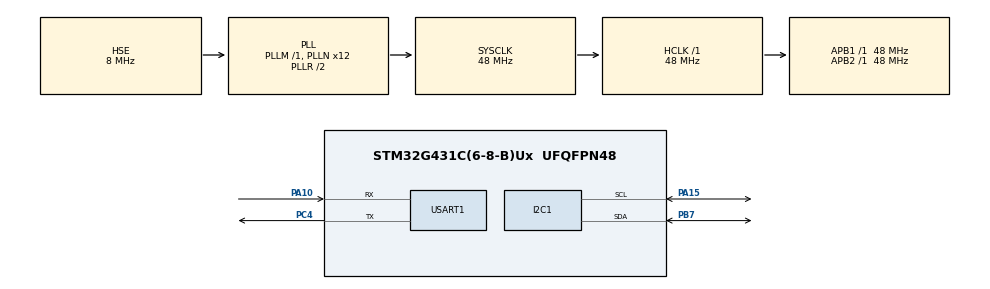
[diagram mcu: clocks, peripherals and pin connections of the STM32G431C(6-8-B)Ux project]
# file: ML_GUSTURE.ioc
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EdgeImpulse.Motion_Classification_-_Continuo.1.0.161.MachineLearningCcMotionIiClassificationIiAaIiContinuoJjCore=true
I2C1.Timing=0x10805D88
Mcu.Family=STM32G4
Mcu.Name=STM32G431C(6-8-B)Ux
Mcu.Package=UFQFPN48
NVIC.PriorityGroup=NVIC_PRIORITYGROUP_4
PA10.Mode=Asynchronous
PA10.Signal=USART1_RX
PA13.Mode=Serial_Wire
PA13.Signal=SYS_JTMS-SWDIO
PA14.Mode=Serial_Wire
PA14.Signal=SYS_JTCK-SWCLK
PA15.Mode=I2C
PA15.Signal=I2C1_SCL
PB7.Mode=I2C
PB7.Signal=I2C1_SDA
PC4.Mode=Asynchronous
PC4.Signal=USART1_TX
PF0-OSC_IN.Mode=HSE-External-Oscillator
PF0-OSC_IN.Signal=RCC_OSC_IN
PF1-OSC_OUT.Mode=HSE-External-Oscillator
PF1-OSC_OUT.Signal=RCC_OSC_OUT
ProjectManager.HeapSize=0x200
ProjectManager.StackSize=0x400
ProjectManager.TargetToolchain=STM32CubeIDE
RCC.ADC12Freq_Value=48000000
RCC.AHBFreq_Value=48000000
RCC.APB1Freq_Value=48000000
RCC.APB1TimFreq_Value=48000000
RCC.APB2Freq_Value=48000000
RCC.APB2TimFreq_Value=48000000
RCC.CortexFreq_Value=48000000
RCC.EXTERNAL_CLOCK_VALUE=12288000
RCC.HCLKFreq_Value=48000000
RCC.HSE_VALUE=8000000
RCC.HSI48_VALUE=48000000
RCC.HSI_VALUE=16000000
RCC.LSE_VALUE=32768
RCC.PLLN=12
RCC.PLLSourceVirtual=RCC_PLLSOURCE_HSE
RCC.SYSCLKFreq_VALUE=48000000
RCC.SYSCLKSource=RCC_SYSCLKSOURCE_PLLCLK
RCC.USBFreq_Value=48000000
RCC.VCOOutputFreq_Value=96000000
USART1.VirtualMode-Asynchronous=VM_ASYNC
VP_CRC_VS_CRC.Mode=CRC_Activate
VP_EdgeImpulse.Motion_Classification_-_Continuo_VS_MotionIiClassificationIiAaIiContinuoJjMachineLearning_1.0.161_1.0.161.Mode=MotionIiClassificationIiAaIiContinuoJjMachineLearning
VP_SYS_VS_DBSignals.Mode=DisableDeadBatterySignals
board=custom

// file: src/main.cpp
/* USER CODE BEGIN Header */
/**
  ******************************************************************************
  * @file           : main.c
  * @brief          : Main program body
  ******************************************************************************
  * @attention
  *
  * Copyright (c) 2025 STMicroelectronics.
  * All rights reserved.
  *
  * This software is licensed under terms that can be found in the LICENSE file
  * in the root directory of this software component.
  * If no LICENSE file comes with this software, it is provided AS-IS.
  *
  ******************************************************************************
  */
/* USER CODE END Header */
#include "main.h"

/* USER CODE BEGIN Includes */
#include "edge-impulse-sdk/classifier/ei_run_classifier.h"
#include "edge-impulse-sdk/dsp/numpy_types.h"

/* USER CODE END Includes */

/* USER CODE BEGIN PD */
#define MPU6050_ADDR (0x68 << 1)
#define ACCEL_START_REG 0x3B
#define CONVERT_G_TO_MS2 9.80665f
#define MAX_ACCEPTED_RANGE 2.0f

static bool debug_nn = false;
float input_buffer[EI_CLASSIFIER_DSP_INPUT_FRAME_SIZE];

/* USER CODE END PD */

CRC_HandleTypeDef hcrc;

I2C_HandleTypeDef hi2c1;

UART_HandleTypeDef huart1;

void SystemClock_Config(void);
static void MX_GPIO_Init(void);
static void MX_CRC_Init(void);
static void MX_I2C1_Init(void);
static void MX_USART1_UART_Init(void);

/* USER CODE BEGIN PFP */
void UART_Printf(const char *msg);/* USER CODE END PFP */
void init_mpu6050(); //Initialization
void read_mpu6050_accel(float *x, float *y, float *z);//Data read
void sample_edge_impulse_window();
void run_edge_impulse_classifier();

int main(void)
{

  /* MCU Configuration--------------------------------------------------------*/

  /* Reset of all peripherals, Initializes the Flash interface and the Systick. */
  HAL_Init();

  /* Configure the system clock */
  SystemClock_Config();

  /* Initialize all configured peripherals */
  MX_GPIO_Init();
  MX_CRC_Init();
  MX_I2C1_Init();
  MX_USART1_UART_Init();

  /* USER CODE BEGIN 2 */

 UART_Printf("Starting Edge Impulse Motion Classifier\r\n");
 init_mpu6050();

  /* USER CODE END 2 */

  /* Infinite loop */
  while (1)
  {

    /* USER CODE BEGIN 3 */
	  sample_edge_impulse_window();
	  run_edge_impulse_classifier();
	  HAL_Delay(500);
}
  /* USER CODE END 3 */
}

void SystemClock_Config(void)
{
  RCC_OscInitTypeDef RCC_OscInitStruct = {0};
  RCC_ClkInitTypeDef RCC_ClkInitStruct = {0};

  /** Configure the main internal regulator output voltage
  */
  HAL_PWREx_ControlVoltageScaling(PWR_REGULATOR_VOLTAGE_SCALE1);

  /** Initializes the RCC Oscillators according to the specified parameters
  * in the RCC_OscInitTypeDef structure.
  */
  RCC_OscInitStruct.OscillatorType = RCC_OSCILLATORTYPE_HSE;
  RCC_OscInitStruct.HSEState = RCC_HSE_ON;
  RCC_OscInitStruct.PLL.PLLState = RCC_PLL_ON;
  RCC_OscInitStruct.PLL.PLLSource = RCC_PLLSOURCE_HSE;
  RCC_OscInitStruct.PLL.PLLM = RCC_PLLM_DIV1;
  RCC_OscInitStruct.PLL.PLLN = 12;
  RCC_OscInitStruct.PLL.PLLP = RCC_PLLP_DIV2;
  RCC_OscInitStruct.PLL.PLLQ = RCC_PLLQ_DIV2;
  RCC_OscInitStruct.PLL.PLLR = RCC_PLLR_DIV2;
  if (HAL_RCC_OscConfig(&RCC_OscInitStruct) != HAL_OK)
  {
    Error_Handler();
  }

  /** Initializes the CPU, AHB and APB buses clocks
  */
  RCC_ClkInitStruct.ClockType = RCC_CLOCKTYPE_HCLK|RCC_CLOCKTYPE_SYSCLK
                              |RCC_CLOCKTYPE_PCLK1|RCC_CLOCKTYPE_PCLK2;
  RCC_ClkInitStruct.SYSCLKSource = RCC_SYSCLKSOURCE_PLLCLK;
  RCC_ClkInitStruct.AHBCLKDivider = RCC_SYSCLK_DIV1;
  RCC_ClkInitStruct.APB1CLKDivider = RCC_HCLK_DIV1;
  RCC_ClkInitStruct.APB2CLKDivider = RCC_HCLK_DIV1;

  if (HAL_RCC_ClockConfig(&RCC_ClkInitStruct, FLASH_LATENCY_1) != HAL_OK)
  {
    Error_Handler();
  }
}

static void MX_CRC_Init(void)
{

  hcrc.Instance = CRC;
  hcrc.Init.DefaultPolynomialUse = DEFAULT_POLYNOMIAL_ENABLE;
  hcrc.Init.DefaultInitValueUse = DEFAULT_INIT_VALUE_ENABLE;
  hcrc.Init.InputDataInversionMode = CRC_INPUTDATA_INVERSION_NONE;
  hcrc.Init.OutputDataInversionMode = CRC_OUTPUTDATA_INVERSION_DISABLE;
  hcrc.InputDataFormat = CRC_INPUTDATA_FORMAT_BYTES;
  if (HAL_CRC_Init(&hcrc) != HAL_OK)
  {
    Error_Handler();
  }

}

static void MX_I2C1_Init(void)
{

  hi2c1.Instance = I2C1;
  hi2c1.Init.Timing = 0x10805D88;
  hi2c1.Init.OwnAddress1 = 0;
  hi2c1.Init.AddressingMode = I2C_ADDRESSINGMODE_7BIT;
  hi2c1.Init.DualAddressMode = I2C_DUALADDRESS_DISABLE;
  hi2c1.Init.OwnAddress2 = 0;
  hi2c1.Init.OwnAddress2Masks = I2C_OA2_NOMASK;
  hi2c1.Init.GeneralCallMode = I2C_GENERALCALL_DISABLE;
  hi2c1.Init.NoStretchMode = I2C_NOSTRETCH_DISABLE;
  if (HAL_I2C_Init(&hi2c1) != HAL_OK)
  {
    Error_Handler();
  }

  /** Configure Analogue filter
  */
  if (HAL_I2CEx_ConfigAnalogFilter(&hi2c1, I2C_ANALOGFILTER_ENABLE) != HAL_OK)
  {
    Error_Handler();
  }

  /** Configure Digital filter
  */
  if (HAL_I2CEx_ConfigDigitalFilter(&hi2c1, 0) != HAL_OK)
  {
    Error_Handler();
  }

}

static void MX_USART1_UART_Init(void)
{

  huart1.Instance = USART1;
  huart1.Init.BaudRate = 115200;
  huart1.Init.WordLength = UART_WORDLENGTH_8B;
  huart1.Init.StopBits = UART_STOPBITS_1;
  huart1.Init.Parity = UART_PARITY_NONE;
  huart1.Init.Mode = UART_MODE_TX_RX;
  huart1.Init.HwFlowCtl = UART_HWCONTROL_NONE;
  huart1.Init.OverSampling = UART_OVERSAMPLING_16;
  huart1.Init.OneBitSampling = UART_ONE_BIT_SAMPLE_DISABLE;
  huart1.Init.ClockPrescaler = UART_PRESCALER_DIV1;
  huart1.AdvancedInit.AdvFeatureInit = UART_ADVFEATURE_NO_INIT;
  if (HAL_UART_Init(&huart1) != HAL_OK)
  {
    Error_Handler();
  }
  if (HAL_UARTEx_SetTxFifoThreshold(&huart1, UART_TXFIFO_THRESHOLD_1_8) != HAL_OK)
  {
    Error_Handler();
  }
  if (HAL_UARTEx_SetRxFifoThreshold(&huart1, UART_RXFIFO_THRESHOLD_1_8) != HAL_OK)
  {
    Error_Handler();
  }
  if (HAL_UARTEx_DisableFifoMode(&huart1) != HAL_OK)
  {
    Error_Handler();
  }

}
static void MX_GPIO_Init(void)
{

  /* GPIO Ports Clock Enable */
  __HAL_RCC_GPIOF_CLK_ENABLE();
  __HAL_RCC_GPIOA_CLK_ENABLE();
  __HAL_RCC_GPIOB_CLK_ENABLE();

}

/* USER CODE BEGIN 4 */
void UART_Printf(const char *msg)
{
    HAL_UART_Transmit(&huart1, (uint8_t *)msg, strlen(msg), HAL_MAX_DELAY);
}

// MPU6050 initialization
void init_mpu6050() {
    uint8_t check;
    uint8_t data;

    HAL_I2C_Mem_Read(&hi2c1, MPU6050_ADDR, 0x75, 1, &check, 1, HAL_MAX_DELAY);
    if (check == 0x68) {
        data = 0;
        HAL_I2C_Mem_Write(&hi2c1, MPU6050_ADDR, 0x6B, 1, &data, 1, HAL_MAX_DELAY);
        data = 0x00;
        HAL_I2C_Mem_Write(&hi2c1, MPU6050_ADDR, 0x1C, 1, &data, 1, HAL_MAX_DELAY);
        data = 0x00;
        HAL_I2C_Mem_Write(&hi2c1, MPU6050_ADDR, 0x1B, 1, &data, 1, HAL_MAX_DELAY);
    } else {
        UART_Printf("MPU6050 not found!\r\n");
    }
}

// Reading Data from MPU6050
void read_mpu6050_accel(float *x, float *y, float *z) {
    uint8_t data[6];
    HAL_I2C_Mem_Read(&hi2c1, MPU6050_ADDR, ACCEL_START_REG, 1, data, 6, HAL_MAX_DELAY);

    int16_t ax = (int16_t)(data[0] << 8 | data[1]);
    int16_t ay = (int16_t)(data[2] << 8 | data[3]);
    int16_t az = (int16_t)(data[4] << 8 | data[5]);

    *x = (float)ax / 16384.0f * CONVERT_G_TO_MS2;
    *y = (float)ay / 16384.0f * CONVERT_G_TO_MS2;
    *z = (float)az / 16384.0f * CONVERT_G_TO_MS2;

}

void sample_edge_impulse_window() {
	for (size_t i = 0; i < EI_CLASSIFIER_DSP_INPUT_FRAME_SIZE; i += 3) {
	    float x, y, z;
	    read_mpu6050_accel(&x, &y, &z);
	    input_buffer[i]     = x;
	    input_buffer[i + 1] = y;
	    input_buffer[i + 2] = z;
	    HAL_Delay(EI_CLASSIFIER_INTERVAL_MS);
	}
}

void run_edge_impulse_classifier() {
    signal_t signal;
    int err = numpy::signal_from_buffer(input_buffer, EI_CLASSIFIER_DSP_INPUT_FRAME_SIZE, &signal);
    if (err != 0) {
        UART_Printf("Signal creation failed!\r\n");
        return;
    }

    ei_impulse_result_t result = { 0 };
    EI_IMPULSE_ERROR res = run_classifier(&signal, &result, debug_nn);

    if (res == EI_IMPULSE_OK) {
        for (size_t i = 0; i < EI_CLASSIFIER_LABEL_COUNT; i++) {
            float val = result.classification[i].value;
	// CubeIDE may not support for float, convert it to decimal::
            int whole = (int)val;
            int frac = (int)((val - (float)whole) * 100.0f);
            if (frac < 0) frac = -frac;

            char msg[64];
            snprintf(msg, sizeof(msg), "%s: %d.%02d\r\n", result.classification[i].label, whole, frac);
            UART_Printf(msg);
        }

#if EI_CLASSIFIER_HAS_ANOMALY == 1
        float anomaly = result.anomaly;
        int whole_a = (int)anomaly;
        int frac_a = (int)((anomaly - (float)whole_a) * 100.0f);
        if (frac_a < 0) frac_a = -frac_a;

        char a_msg[64];
        snprintf(a_msg, sizeof(a_msg), "Anomaly score: %d.%02d\r\n", whole_a, frac_a);
        UART_Printf(a_msg);
#endif
    } else {
        UART_Printf("Classifier error!\r\n");
    }
}
/* USER CODE END 4 */

void Error_Handler(void)
{
  __disable_irq();
  while (1)
  {
  }
}
